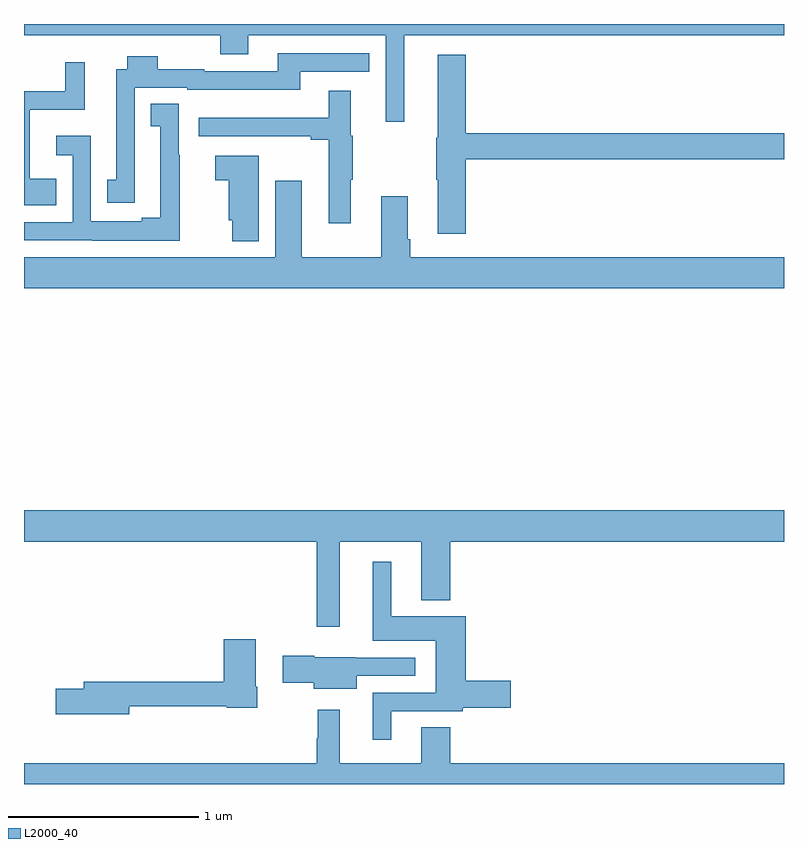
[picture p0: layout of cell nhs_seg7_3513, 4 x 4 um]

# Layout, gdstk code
import gdstk
lib = gdstk.Library(unit=1e-6, precision=1e-09)
def P(c, l, *ps):  # polygons
    for p in ps: c.add(gdstk.Polygon(p, *l))
L2000_40 = (2000, 40)

nhs_seg7_3513 = lib.new_cell('nhs_seg7_3513')
P(nhs_seg7_3513, L2000_40, [(335,1009.94),(336.034,1009.94),(336.034,1009.841),(336.181,1009.841),(336.181,1009.94),(336.903,1009.94),(336.903,1009.485),(337,1009.485),(337,1009.94),(339,1009.94),(339,1010),(335,1010)],
  [(335.584,1009.382),(335.583,1009.382),(335.583,1009.665),(335.859,1009.665),(335.859,1009.655),(336.454,1009.655),(336.454,1009.749),(336.818,1009.749),(336.818,1009.845),(336.335,1009.845),(336.335,1009.752),(335.949,1009.752),(335.949,1009.762),(335.703,1009.762),(335.703,1009.831),(335.543,1009.831),(335.543,1009.761),(335.486,1009.761),(335.486,1009.179),(335.437,1009.179),(335.437,1009.059),(335.584,1009.059)],
  [(337.325,1009.288),(339,1009.288),(339,1009.424),(337.325,1009.424),(337.325,1009.837),(337.178,1009.837),(337.178,1009.401),(337.171,1009.401),(337.171,1009.18),(337.178,1009.18),(337.178,1008.897),(337.325,1008.897)],
  [(335.171,1009.186),(335.029,1009.186),(335.029,1009.55),(335.32,1009.55),(335.32,1009.798),(335.218,1009.798),(335.218,1009.647),(335,1009.647),(335,1009.046),(335.171,1009.046)],
  [(336.721,1009.18),(336.729,1009.18),(336.729,1009.413),(336.721,1009.413),(336.721,1009.648),(336.605,1009.648),(336.605,1009.507),(335.919,1009.507),(335.919,1009.41),(336.331,1009.41),(336.331,1009.408),(336.509,1009.408),(336.509,1009.39),(336.605,1009.39),(336.605,1008.951),(336.721,1008.951)],
  [(335.819,1009.313),(335.814,1009.313),(335.814,1009.58),(335.668,1009.58),(335.668,1009.462),(335.717,1009.462),(335.717,1008.979),(335.621,1008.979),(335.621,1008.961),(335.352,1008.961),(335.352,1009.411),(335.169,1009.411),(335.169,1009.31),(335.256,1009.31),(335.256,1008.957),(335,1008.957),(335,1008.861),(335.359,1008.861),(335.359,1008.86),(335.819,1008.86)],
  [(336.235,1009.306),(336.006,1009.306),(336.006,1009.177),(336.077,1009.177),(336.077,1008.966),(336.095,1008.966),(336.095,1008.857),(336.235,1008.857)],
  [(339,1008.772),(337.034,1008.772),(337.034,1008.868),(337.021,1008.868),(337.021,1009.093),(336.881,1009.093),(336.881,1008.772),(336.463,1008.772),(336.463,1009.174),(336.323,1009.174),(336.323,1008.772),(335,1008.772),(335,1008.608),(339,1008.608)],
  [(336.661,1007.276),(337.091,1007.276),(337.091,1006.967),(337.244,1006.967),(337.244,1007.276),(339,1007.276),(339,1007.44),(335,1007.44),(335,1007.276),(336.54,1007.276),(336.54,1006.827),(336.661,1006.827)],
  [(336.934,1006.383),(337.308,1006.383),(337.308,1006.402),(337.561,1006.402),(337.561,1006.544),(337.325,1006.544),(337.325,1006.882),(336.934,1006.882),(336.934,1007.17),(336.836,1007.17),(336.836,1006.754),(337.166,1006.754),(337.166,1006.479),(336.836,1006.479),(336.836,1006.233),(336.934,1006.233)],
  [(335.554,1006.41),(336.066,1006.41),(336.066,1006.402),(336.228,1006.402),(336.228,1006.513),(336.22,1006.513),(336.22,1006.762),(336.05,1006.762),(336.05,1006.538),(335.315,1006.538),(335.315,1006.502),(335.166,1006.502),(335.166,1006.367),(335.554,1006.367)],
  [(336.751,1006.569),(337.06,1006.569),(337.06,1006.665),(336.747,1006.665),(336.747,1006.666),(336.528,1006.666),(336.528,1006.676),(336.363,1006.676),(336.363,1006.534),(336.524,1006.534),(336.524,1006.502),(336.751,1006.502)],
  [(339,1006.108),(337.244,1006.108),(337.244,1006.298),(337.091,1006.298),(337.091,1006.108),(336.661,1006.108),(336.661,1006.39),(336.547,1006.39),(336.547,1006.241),(336.54,1006.241),(336.54,1006.108),(335,1006.108),(335,1006),(339,1006)])

lib.write_gds('nhs_seg7_3513.gds')
